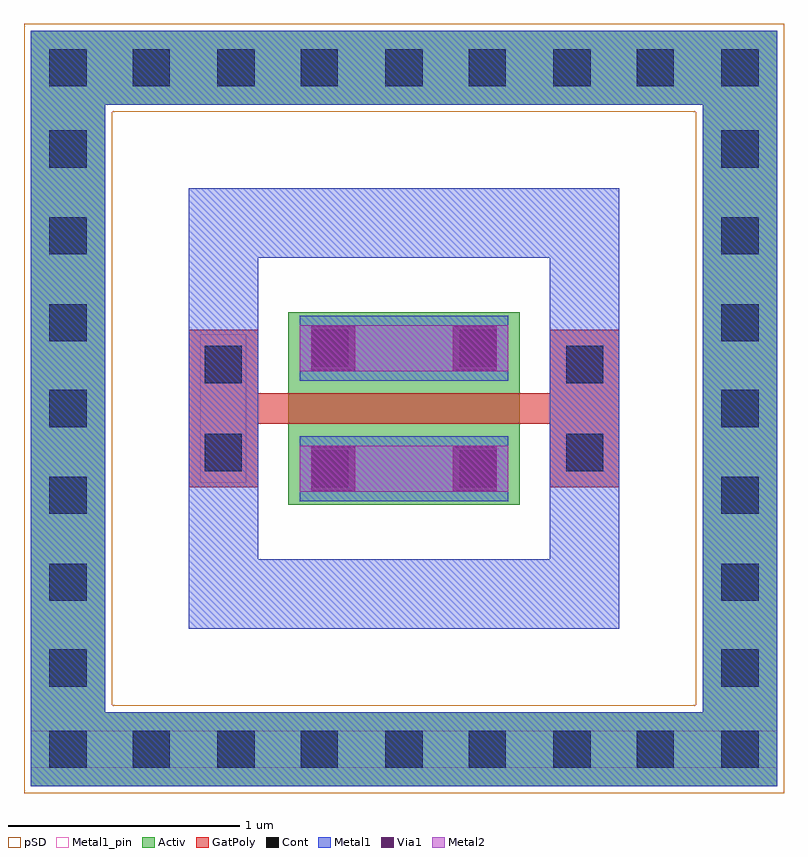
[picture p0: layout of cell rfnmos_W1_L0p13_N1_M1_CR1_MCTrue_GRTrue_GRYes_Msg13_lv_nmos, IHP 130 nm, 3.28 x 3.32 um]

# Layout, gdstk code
import gdstk
lib = gdstk.Library(unit=1e-6, precision=1e-09)
def R(c, l, rs):  # rectangles x0, y0, x1, y1
    for r in rs: c.add(gdstk.rectangle(r[:2], r[2:], *l))
def A(c, l, x, y, w, h, nx, ny, dx, dy):  # array of equal rectangles
    R(c, l, [(x+i*dx, y+j*dy, x+i*dx+w, y+j*dy+h) for i in range(nx) for j in range(ny)])
Activ = (1, 0)
GatPoly = (5, 0)
Cont = (6, 0)
Metal1 = (8, 0)
Metal1_pin = (8, 2)
Metal2 = (10, 0)
pSD = (14, 0)
Via1 = (19, 0)

rfnmos_w1_l0p13_n1_m1_cr = lib.new_cell('rfnmos_W1_L0p13_N1_M1_CR1_MCTrue_GRTrue_GRYes_Msg13_lv_nmos')
R(rfnmos_w1_l0p13_n1_m1_cr, Activ, [(0.03,0.03,3.25,0.35), (0.03,0.35,0.35,2.97), (2.93,0.35,3.25,2.97), (1.14,1.245,2.14,2.075), (0.03,2.97,3.25,3.29)])
R(rfnmos_w1_l0p13_n1_m1_cr, GatPoly, [(0.71,1.32,1.01,2), (2.27,1.32,2.57,2), (1.01,1.595,2.27,1.725)])
A(rfnmos_w1_l0p13_n1_m1_cr, Cont, 0.11, 0.83, 0.16, 0.16, 1, 3, 0, 0.375)
A(rfnmos_w1_l0p13_n1_m1_cr, Cont, 3.01, 0.83, 0.16, 0.16, 1, 3, 0, 0.375)
A(rfnmos_w1_l0p13_n1_m1_cr, Cont, 0.11, 1.95, 0.16, 0.16, 1, 3, 0, 0.375)
A(rfnmos_w1_l0p13_n1_m1_cr, Cont, 3.01, 1.95, 0.16, 0.16, 1, 3, 0, 0.375)
R(rfnmos_w1_l0p13_n1_m1_cr, Cont, [(0.11,0.11,0.27,0.27), (0.47,0.11,0.63,0.27), (0.835,0.11,0.995,0.27), (1.195,0.11,1.355,0.27), (1.56,0.11,1.72,0.27), (1.92,0.11,2.08,0.27), (2.285,0.11,2.445,0.27), (2.645,0.11,2.805,0.27), (3.01,0.11,3.17,0.27), (0.11,0.46,0.27,0.62), (3.01,0.46,3.17,0.62), (1.24,1.32,1.4,1.48), (1.88,1.32,2.04,1.48), (0.78,1.39,0.94,1.55), (2.34,1.39,2.5,1.55), (0.78,1.77,0.94,1.93), (2.34,1.77,2.5,1.93), (1.24,1.84,1.4,2), (1.88,1.84,2.04,2), (0.11,3.05,0.27,3.21), (0.47,3.05,0.63,3.21), (0.835,3.05,0.995,3.21), (1.195,3.05,1.355,3.21), (1.56,3.05,1.72,3.21), (1.92,3.05,2.08,3.21), (2.285,3.05,2.445,3.21), (2.645,3.05,2.805,3.21), (3.01,3.05,3.17,3.21)])
R(rfnmos_w1_l0p13_n1_m1_cr, Metal1, [(0.03,0.03,3.25,0.35), (0.03,0.35,0.35,2.97), (2.93,0.35,3.25,2.97), (0.71,0.71,1.01,2.61), (1.01,0.71,2.27,1.01), (2.27,0.71,2.57,2.61), (1.19,1.26,2.09,1.54), (0.76,1.34,0.96,1.98), (2.32,1.34,2.52,1.98), (1.19,1.78,2.09,2.06), (1.01,2.31,2.27,2.61), (0.03,2.97,3.25,3.29)])
R(rfnmos_w1_l0p13_n1_m1_cr, Metal1_pin, [(0.03,0.11,3.25,0.27), (1.19,1.26,2.09,1.54), (0.76,1.34,0.96,1.98), (1.19,1.78,2.09,2.06)])
R(rfnmos_w1_l0p13_n1_m1_cr, Metal2, [(1.19,1.3,2.09,1.5), (1.19,1.82,2.09,2.02)])
R(rfnmos_w1_l0p13_n1_m1_cr, pSD, [(0,0,3.28,0.38), (0,0.38,0.38,2.94), (2.9,0.38,3.28,2.94), (0,2.94,3.28,3.32)])
R(rfnmos_w1_l0p13_n1_m1_cr, Via1, [(1.24,1.305,1.43,1.495), (1.85,1.305,2.04,1.495), (1.24,1.825,1.43,2.015), (1.85,1.825,2.04,2.015)])

lib.write_gds('rfnmos_W1_L0p13_N1_M1_CR1_MCTrue_GRTrue_GRYes_Msg13_lv_nmos.gds')
